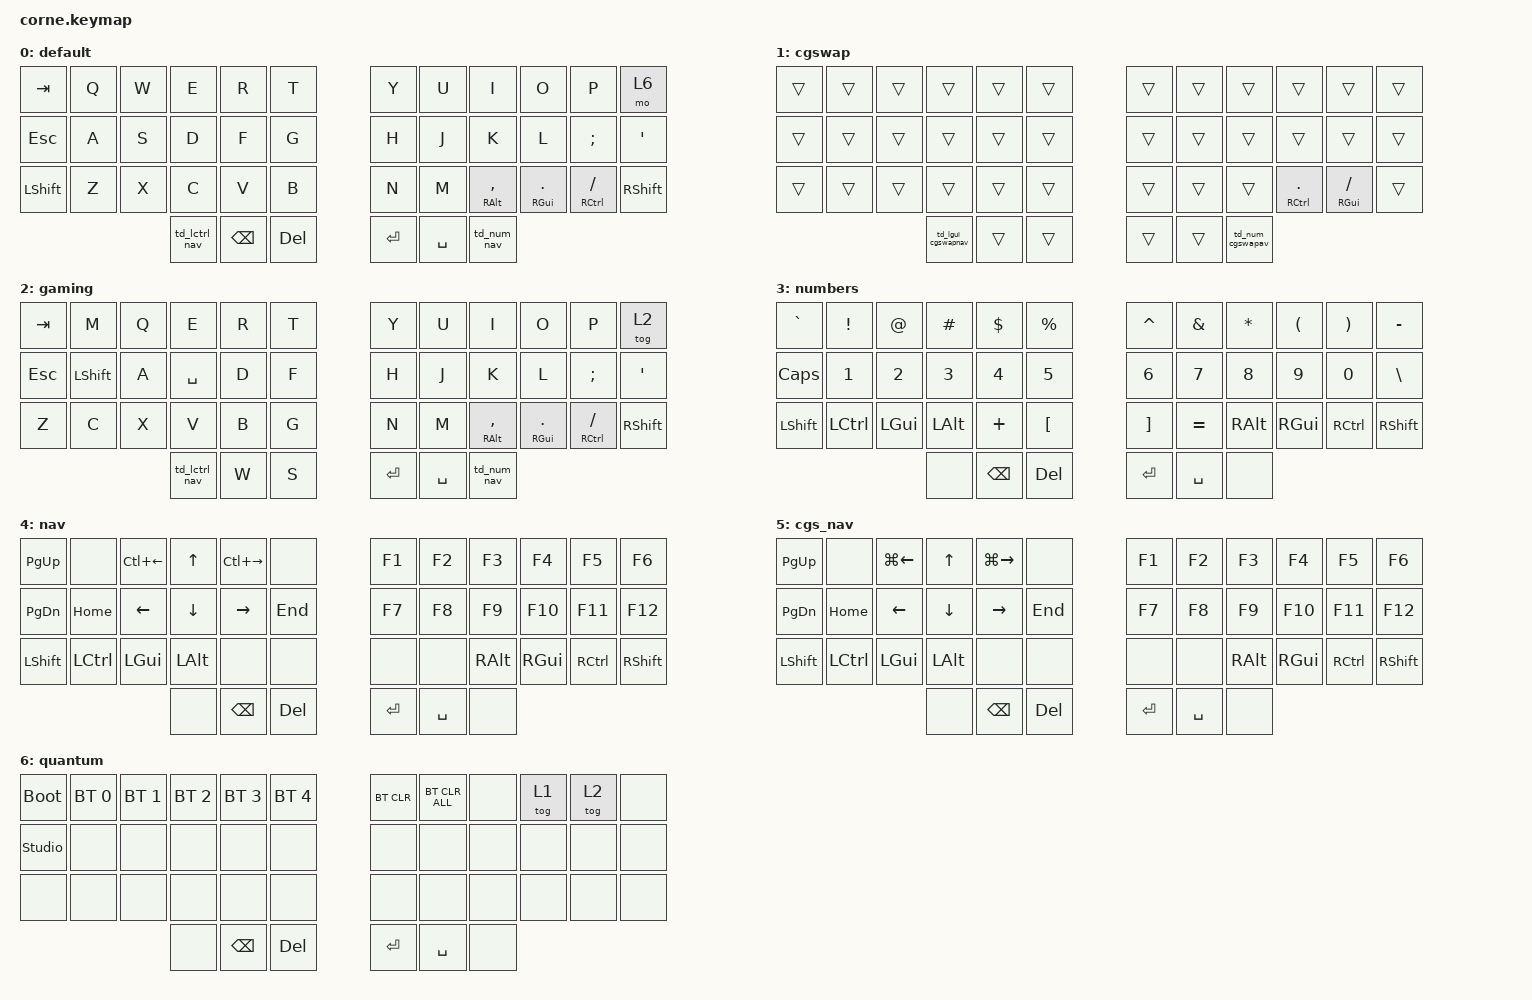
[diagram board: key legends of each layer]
#include <behaviors.dtsi>
#include <dt-bindings/zmk/bt.h>
#include <dt-bindings/zmk/keys.h>
#include <dt-bindings/zmk/pointing.h>

&mt {
    flavor = "tap-preferred";
    tapping-term-ms = <250>;
    quick-tap-ms = <200>;
};

/ {
    behaviors {
        td_lctrl_nav: tap_dance_0 {
            compatible = "zmk,behavior-tap-dance";
            #binding-cells = <0>;
            tapping-term-ms = <250>;
            bindings = <&kp LCTRL>, <&mo 4>;
        };

        td_num_nav: tap_dance_1 {
            compatible = "zmk,behavior-tap-dance";
            #binding-cells = <0>;
            tapping-term-ms = <250>;
            bindings = <&mo 3>, <&mo 4>;
        };

        td_lgui_cgswapnav: tap_dance_2 {
            compatible = "zmk,behavior-tap-dance";
            #binding-cells = <0>;
            tapping-term-ms = <250>;
            bindings = <&kp LGUI>, <&mo 5>;
        };

        td_num_cgswapav: tap_dance_3 {
            compatible = "zmk,behavior-tap-dance";
            #binding-cells = <0>;
            tapping-term-ms = <250>;
            bindings = <&mo 3>, <&mo 5>;
        };
    };

    //

    keymap {
        compatible = "zmk,keymap";

        layer0 {
            bindings = <
&kp TAB     &kp Q      &kp W         &kp E         &kp R          &kp T             &kp Y      &kp U      &kp I          &kp O          &kp P          &mo 6
&kp ESC     &kp A      &kp S         &kp D         &kp F          &kp G             &kp H      &kp J      &kp K          &kp L          &kp SEMI       &kp APOS
&kp LSHFT   &kp Z      &kp X         &kp C         &kp V          &kp B             &kp N      &kp M      &mt RALT COMMA &mt RGUI DOT   &mt RCTRL FSLH &kp RIGHT_SHIFT
                                     &td_lctrl_nav &kp BACKSPACE  &kp DELETE        &kp ENTER  &kp SPACE  &td_num_nav    
            >;

            display-name = "default";
        };

        layer1 {
            bindings = <
&trans      &trans     &trans        &trans              &trans   &trans                   &trans     &trans     &trans           &trans         &trans         &trans
&trans      &trans     &trans        &trans              &trans   &trans                   &trans     &trans     &trans           &trans         &trans         &trans
&trans      &trans     &trans        &trans              &trans   &trans                   &trans     &trans     &trans           &mt RCTRL DOT  &mt RGUI FSLH  &trans
                                     &td_lgui_cgswapnav  &trans   &trans                   &trans     &trans     &td_num_cgswapav
            >;

            display-name = "cgswap";
        };

        layer2 {
            bindings = <
&kp TAB     &kp M      &kp Q     &kp E         &kp R   &kp T             &kp Y      &kp U      &kp I          &kp O          &kp P          &tog 2
&kp ESC     &kp LSHFT  &kp A     &kp SPACE     &kp D   &kp F             &kp H      &kp J      &kp K          &kp L          &kp SEMI       &kp APOS
&kp Z       &kp C      &kp X     &kp V         &kp B   &kp G             &kp N      &kp M      &mt RALT COMMA &mt RGUI DOT   &mt RCTRL FSLH &kp RIGHT_SHIFT
                                 &td_lctrl_nav &kp W   &kp S             &kp ENTER  &kp SPACE  &td_num_nav    
            >;

            display-name = "gaming";
        };

        layer3 {
            bindings = <
&kp GRAVE   &kp EXCL         &kp AT_SIGN     &kp HASH      &kp DOLLAR       &kp PERCENT             &kp CARET           &kp AMPERSAND    &kp ASTERISK    &kp LPAR   &kp RPAR   &kp MINUS
&kp CAPS    &kp N1           &kp N2          &kp N3        &kp N4           &kp N5                  &kp N6              &kp N7           &kp N8          &kp N9     &kp N0     &kp BACKSLASH
&kp LSHIFT  &kp LCTRL        &kp LGUI        &kp LALT      &kp PLUS         &kp LEFT_BRACKET        &kp RIGHT_BRACKET   &kp EQUAL        &kp RALT        &kp RGUI   &kp RCTRL  &kp RSHIFT
                                             &none         &kp BACKSPACE    &kp DELETE              &kp ENTER           &kp SPACE        &none           
            >;

            display-name = "numbers";
        };

        layer4 {
            bindings = <
&kp PG_UP  &none     &kp LC(LEFT_ARROW)  &kp UP_ARROW    &kp LC(RIGHT_ARROW)  &none             &kp F1     &kp F2     &kp F3   &kp F4    &kp F5     &kp F6
&kp PG_DN  &kp HOME  &kp LEFT_ARROW      &kp DOWN_ARROW  &kp RIGHT_ARROW      &kp END           &kp F7     &kp F8     &kp F9   &kp F10   &kp F11    &kp F12
&kp LSHIFT &kp LCTRL &kp LGUI            &kp LALT        &none                &none             &none      &none      &kp RALT &kp RGUI  &kp RCTRL  &kp RSHIFT
                                         &none           &kp BACKSPACE        &kp DELETE        &kp ENTER  &kp SPACE  &none
            >;

            display-name = "nav";
        };

        layer5 {
            bindings = <
&kp PG_UP  &none     &kp LG(LEFT_ARROW)  &kp UP_ARROW    &kp LG(RIGHT_ARROW)  &none             &kp F1     &kp F2     &kp F3   &kp F4    &kp F5     &kp F6
&kp PG_DN  &kp HOME  &kp LEFT_ARROW      &kp DOWN_ARROW  &kp RIGHT_ARROW      &kp END           &kp F7     &kp F8     &kp F9   &kp F10   &kp F11    &kp F12
&kp LSHIFT &kp LCTRL &kp LGUI            &kp LALT        &none                &none             &none      &none      &kp RALT &kp RGUI  &kp RCTRL  &kp RSHIFT
                                         &none           &kp BACKSPACE        &kp DELETE        &kp ENTER  &kp SPACE  &none    
            >;

            display-name = "cgs_nav";
        };

        layer6 {
            bindings = <
&bootloader    &bt BT_SEL 0  &bt BT_SEL 1  &bt BT_SEL 2  &bt BT_SEL 3  &bt BT_SEL 4            &bt BT_CLR  &bt BT_CLR_ALL &none  &tog 1 &tog 2  &none
&studio_unlock &none         &none         &none         &none         &none                   &none       &none          &none  &none  &none   &none
&none          &none         &none         &none         &none         &none                   &none       &none          &none  &none  &none   &none
                                           &none         &kp BACKSPACE &kp DELETE              &kp ENTER   &kp SPACE      &none  
            >;

            display-name = "quantum";
        };
    };
};
